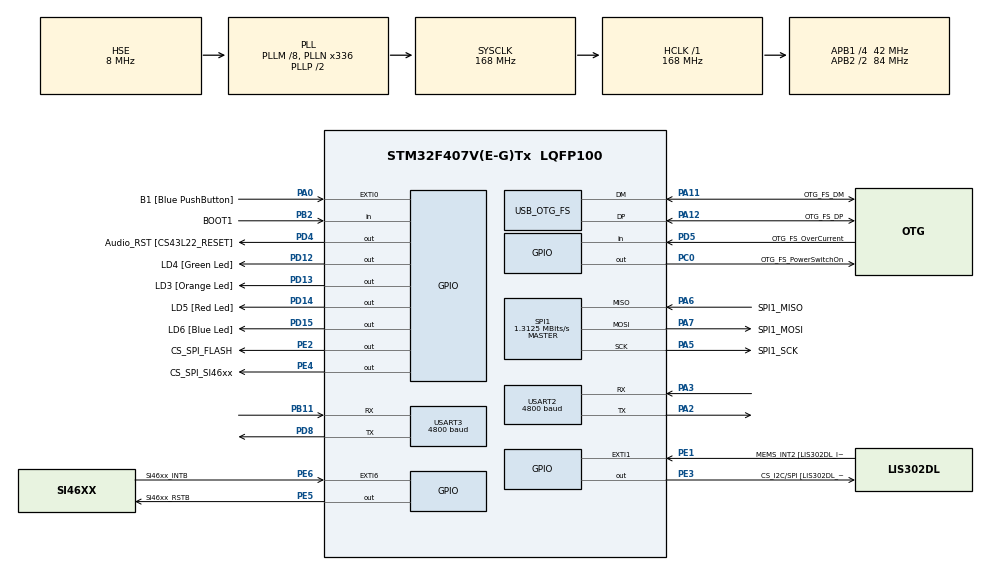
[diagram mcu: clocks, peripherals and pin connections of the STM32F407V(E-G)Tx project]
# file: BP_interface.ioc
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Mcu.Family=STM32F4
Mcu.Name=STM32F407V(E-G)Tx
Mcu.Package=LQFP100
NVIC.EXTI9_5_IRQn=true\:0\:0\:false\:false\:true\:true\:true\:true
NVIC.OTG_FS_IRQn=true\:0\:0\:false\:false\:true\:true\:true\:true
NVIC.PriorityGroup=NVIC_PRIORITYGROUP_0
NVIC.SPI1_IRQn=true\:0\:0\:false\:false\:true\:true\:true\:true
NVIC.USART2_IRQn=true\:0\:0\:false\:false\:true\:true\:true\:true
NVIC.USART3_IRQn=true\:0\:0\:false\:false\:true\:true\:true\:true
PA0-WKUP.GPIO_Label=B1 [Blue PushButton]
PA0-WKUP.GPIO_ModeDefaultEXTI=GPIO_MODE_EVT_RISING
PA0-WKUP.GPIO_PuPd=GPIO_NOPULL
PA0-WKUP.Signal=GPXTI0
PA10.GPIO_Label=OTG_FS_ID
PA10.GPIO_Mode=GPIO_MODE_AF_PP
PA10.GPIO_PuPd=GPIO_NOPULL
PA10.GPIO_Speed=GPIO_SPEED_FREQ_LOW
PA10.Signal=USB_OTG_FS_ID
PA11.GPIO_Label=OTG_FS_DM
PA11.GPIO_Mode=GPIO_MODE_AF_PP
PA11.GPIO_PuPd=GPIO_NOPULL
PA11.GPIO_Speed=GPIO_SPEED_FREQ_LOW
PA11.Mode=Device_Only
PA11.Signal=USB_OTG_FS_DM
PA12.GPIO_Label=OTG_FS_DP
PA12.GPIO_Mode=GPIO_MODE_AF_PP
PA12.GPIO_PuPd=GPIO_NOPULL
PA12.GPIO_Speed=GPIO_SPEED_FREQ_LOW
PA12.Mode=Device_Only
PA12.Signal=USB_OTG_FS_DP
PA13.GPIO_Label=SWDIO
PA13.Mode=Serial_Wire
PA13.Signal=SYS_JTMS-SWDIO
PA14.GPIO_Label=SWCLK
PA14.Mode=Serial_Wire
PA14.Signal=SYS_JTCK-SWCLK
PA2.Mode=Asynchronous
PA2.Signal=USART2_TX
PA3.Mode=Asynchronous
PA3.Signal=USART2_RX
PA4.GPIO_Label=I2S3_WS [CS43L22_LRCK]
PA4.GPIO_Mode=GPIO_MODE_AF_PP
PA4.GPIO_PuPd=GPIO_NOPULL
PA4.GPIO_Speed=GPIO_SPEED_FREQ_LOW
PA4.Signal=I2S3_WS
PA5.GPIO_Label=SPI1_SCK
PA5.GPIO_Mode=GPIO_MODE_AF_PP
PA5.GPIO_PuPd=GPIO_NOPULL
PA5.GPIO_Speed=GPIO_SPEED_FREQ_VERY_HIGH
PA5.Mode=Full_Duplex_Master
PA5.Signal=SPI1_SCK
PA6.GPIO_Label=SPI1_MISO
PA6.GPIO_Mode=GPIO_MODE_AF_PP
PA6.GPIO_PuPd=GPIO_NOPULL
PA6.GPIO_Speed=GPIO_SPEED_FREQ_VERY_HIGH
PA6.Mode=Full_Duplex_Master
PA6.Signal=SPI1_MISO
PA7.GPIO_Label=SPI1_MOSI
PA7.GPIO_Mode=GPIO_MODE_AF_PP
PA7.GPIO_PuPd=GPIO_NOPULL
PA7.GPIO_Speed=GPIO_SPEED_FREQ_VERY_HIGH
PA7.Mode=Full_Duplex_Master
PA7.Signal=SPI1_MOSI
PA9.GPIO_Label=VBUS_FS
PA9.GPIO_Mode=GPIO_MODE_INPUT
PA9.GPIO_PuPd=GPIO_NOPULL
PA9.Signal=USB_OTG_FS_VBUS
PB10.GPIO_Label=CLK_IN [MP45DT02_CLK]
PB10.GPIO_Mode=GPIO_MODE_AF_PP
PB10.GPIO_PuPd=GPIO_NOPULL
PB10.GPIO_Speed=GPIO_SPEED_FREQ_LOW
PB10.Signal=I2S2_CK
PB11.Mode=Asynchronous
PB11.Signal=USART3_RX
PB2.GPIO_Label=BOOT1
PB2.GPIO_Mode=GPIO_MODE_INPUT
PB2.GPIO_PuPd=GPIO_NOPULL
PB2.Signal=GPIO_Input
PB3.GPIO_Label=SWO
PB3.Signal=SYS_JTDO-SWO
PB6.GPIO_Label=Audio_SCL [CS43L22_SCL]
PB6.GPIO_Mode=GPIO_MODE_AF_OD
PB6.GPIO_PuPd=GPIO_NOPULL
PB6.GPIO_Speed=GPIO_SPEED_FREQ_LOW
PB6.Signal=I2C1_SCL
PB9.GPIO_Label=Audio_SDA [CS43L22_SDA]
PB9.GPIO_Mode=GPIO_MODE_AF_OD
PB9.GPIO_PuPd=GPIO_NOPULL
PB9.GPIO_Speed=GPIO_SPEED_FREQ_LOW
PB9.Signal=I2C1_SDA
PC0.GPIO_Label=OTG_FS_PowerSwitchOn
PC0.GPIO_PuPd=GPIO_NOPULL
PC0.GPIO_Speed=GPIO_SPEED_FREQ_LOW
PC0.PinState=GPIO_PIN_SET
PC0.Signal=GPIO_Output
PC10.GPIO_Label=I2S3_SCK [CS43L22_SCLK]
PC10.GPIO_Mode=GPIO_MODE_AF_PP
PC10.GPIO_PuPd=GPIO_NOPULL
PC10.GPIO_Speed=GPIO_SPEED_FREQ_LOW
PC10.Signal=I2S3_CK
PC12.GPIO_Label=I2S3_SD [CS43L22_SDIN]
PC12.GPIO_Mode=GPIO_MODE_AF_PP
PC12.GPIO_PuPd=GPIO_NOPULL
PC12.GPIO_Speed=GPIO_SPEED_FREQ_LOW
PC12.Signal=I2S3_SD
PC14-OSC32_IN.GPIO_Label=PC14-OSC32_IN
PC14-OSC32_IN.Mode=LSE-External-Oscillator
PC14-OSC32_IN.Signal=RCC_OSC32_IN
PC15-OSC32_OUT.GPIO_Label=PC15-OSC32_OUT
PC15-OSC32_OUT.Mode=LSE-External-Oscillator
PC15-OSC32_OUT.Signal=RCC_OSC32_OUT
PC3.GPIO_Label=PDM_OUT [MP45DT02_DOUT]
PC3.GPIO_Mode=GPIO_MODE_AF_PP
PC3.GPIO_PuPd=GPIO_NOPULL
PC3.GPIO_Speed=GPIO_SPEED_FREQ_LOW
PC3.Signal=I2S2_SD
PC7.GPIO_Label=I2S3_MCK [CS43L22_MCLK]
PC7.GPIO_Mode=GPIO_MODE_AF_PP
PC7.GPIO_PuPd=GPIO_NOPULL
PC7.GPIO_Speed=GPIO_SPEED_FREQ_LOW
PC7.Signal=I2S3_MCK
PD12.GPIO_Label=LD4 [Green Led]
PD12.GPIO_PuPd=GPIO_NOPULL
PD12.GPIO_Speed=GPIO_SPEED_FREQ_LOW
PD12.Signal=GPIO_Output
PD13.GPIO_Label=LD3 [Orange Led]
PD13.GPIO_PuPd=GPIO_NOPULL
PD13.GPIO_Speed=GPIO_SPEED_FREQ_LOW
PD13.Signal=GPIO_Output
PD14.GPIO_Label=LD5 [Red Led]
PD14.GPIO_PuPd=GPIO_NOPULL
PD14.GPIO_Speed=GPIO_SPEED_FREQ_LOW
PD14.Signal=GPIO_Output
PD15.GPIO_Label=LD6 [Blue Led]
PD15.GPIO_PuPd=GPIO_NOPULL
PD15.GPIO_Speed=GPIO_SPEED_FREQ_LOW
PD15.Signal=GPIO_Output
PD4.GPIO_Label=Audio_RST [CS43L22_RESET]
PD4.GPIO_PuPd=GPIO_NOPULL
PD4.GPIO_Speed=GPIO_SPEED_FREQ_LOW
PD4.Signal=GPIO_Output
PD5.GPIO_Label=OTG_FS_OverCurrent
PD5.GPIO_Mode=GPIO_MODE_INPUT
PD5.GPIO_PuPd=GPIO_NOPULL
PD5.Signal=GPIO_Input
PD8.Mode=Asynchronous
PD8.Signal=USART3_TX
PE1.GPIO_Label=MEMS_INT2 [LIS302DL_INT2]
PE1.GPIO_ModeDefaultEXTI=GPIO_MODE_EVT_RISING
PE1.GPIO_PuPd=GPIO_NOPULL
PE1.Signal=GPXTI1
PE2.GPIO_Label=CS_SPI_FLASH
PE2.GPIO_ModeDefaultOutputPP=GPIO_MODE_OUTPUT_OD
PE2.GPIO_PuPd=GPIO_NOPULL
PE2.PinState=GPIO_PIN_SET
PE2.Signal=GPIO_Output
PE3.GPIO_Label=CS_I2C/SPI [LIS302DL_CS_I2C/SPI]
PE3.GPIO_PuPd=GPIO_NOPULL
PE3.GPIO_Speed=GPIO_SPEED_FREQ_LOW
PE3.Signal=GPIO_Output
PE4.GPIO_Label=CS_SPI_SI46xx
PE4.Signal=GPIO_Output
PE5.GPIO_Label=Si46xx_RSTB 
PE5.Signal=GPIO_Output
PE6.GPIO_Label=Si46xx_INTB
PE6.Signal=GPXTI6
PH0-OSC_IN.GPIO_Label=PH0-OSC_IN
PH0-OSC_IN.Mode=HSE-External-Oscillator
PH0-OSC_IN.Signal=RCC_OSC_IN
PH1-OSC_OUT.GPIO_Label=PH1-OSC_OUT
PH1-OSC_OUT.Mode=HSE-External-Oscillator
PH1-OSC_OUT.Signal=RCC_OSC_OUT
ProjectManager.HeapSize=0x200
ProjectManager.StackSize=0x400
ProjectManager.TargetToolchain=STM32CubeIDE
RCC.48MHZClocksFreq_Value=48000000
RCC.AHBFreq_Value=168000000
RCC.APB1CLKDivider=RCC_HCLK_DIV4
RCC.APB1Freq_Value=42000000
RCC.APB1TimFreq_Value=84000000
RCC.APB2CLKDivider=RCC_HCLK_DIV2
RCC.APB2Freq_Value=84000000
RCC.APB2TimFreq_Value=168000000
RCC.CortexFreq_Value=168000000
RCC.HCLKFreq_Value=168000000
RCC.HSE_VALUE=8000000
RCC.HSI_VALUE=16000000
RCC.PLLM=8
RCC.PLLN=336
RCC.PLLQ=7
RCC.SYSCLKFreq_VALUE=168000000
RCC.SYSCLKSource=RCC_SYSCLKSOURCE_PLLCLK
RCC.VCOOutputFreq_Value=336000000
SPI1.BaudRatePrescaler=SPI_BAUDRATEPRESCALER_64
SPI1.CLKPhase=SPI_PHASE_1EDGE
SPI1.CLKPolarity=SPI_POLARITY_LOW
SPI1.CalculateBaudRate=1.3125 MBits/s
SPI1.Direction=SPI_DIRECTION_2LINES
SPI1.Mode=SPI_MODE_MASTER
SPI1.VirtualType=VM_MASTER
USART2.BaudRate=4800
USART2.VirtualMode=VM_ASYNC
USART2.WordLength=WORDLENGTH_9B
USART3.BaudRate=4800
USART3.VirtualMode=VM_ASYNC
USART3.WordLength=WORDLENGTH_9B
USB_DEVICE.APP_RX_DATA_SIZE-CDC_FS=2048
USB_DEVICE.APP_TX_DATA_SIZE-CDC_FS=2048
USB_DEVICE.CLASS_NAME_FS=CDC
USB_DEVICE.LANGID_STRING-CDC_FS=1031
USB_DEVICE.USBD_DEBUG_LEVEL-CDC_FS=2
USB_DEVICE.VirtualMode-CDC_FS=Cdc
USB_DEVICE.VirtualModeFS=Cdc_FS
USB_OTG_FS.VirtualMode=Device_Only
VP_USB_DEVICE_VS_USB_DEVICE_CDC_FS.Mode=CDC_FS
board=STM32F407G-DISC1

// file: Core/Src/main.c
/* USER CODE BEGIN Header */
/**
  ******************************************************************************
  * @file           : main.c
  * @brief          : Main program body
  ******************************************************************************
  * @attention
  *
  * <h2><center>&copy; Copyright (c) 2020 STMicroelectronics.
  * All rights reserved.</center></h2>
  *
  * This software component is licensed by ST under Ultimate Liberty license
  * SLA0044, the "License"; You may not use this file except in compliance with
  * the License. You may obtain a copy of the License at:
  *                             www.st.com/SLA0044
  *
  ******************************************************************************
  */

/*
- Senden mit Interrupt
- generell Senden einbauen, wann antwortet das teil åberhaupt?

- Timeouts einbauen

- messageSende stack bauen, welche Zeiten dazwischen? Timer für Slots?

- Error Catchen, wenn Nachricht > als MAximum

#- Wartezeit immer für nach der Nachricht, nicht für vor die nachfolgende Nachricht
- Befehle, die das Radio außerhalb von Antworten liefert auf Stack zurück werfen, damit später bearbneiotet wird
- RINGBUF_WAIT raus schmeißen

bpMessages.c bauen:
findMessage(bp-message) returnt enum mit bekannten nachrichten oder unknown
-> muss mehr als addr und cmd kennen...
array weiter ausbauen

- Als Compiler-Flag: Array kleiner als Enum?
-unbekannte Nachrichten sollten gespeichert werden, am besten auch den Status drum herum

- die Nachrichten auf einen eigenen Stack kleben, wenn sie zum Debuggen genommen werden sollen. Sonst fehlen immer welche...

*/

/* USER CODE END Header */
#include "main.h"
#include "usb_device.h"

/* USER CODE BEGIN Includes */
#include "usbd_cdc_if.h" // TODO auf dauer raus
#include "cdc_interface.h"

#include "SST25.h"

#include "usbd_cdc.h" //test

//#include <locale.h>

/* USER CODE END Includes */

 SPI_HandleTypeDef hspi1;

UART_HandleTypeDef huart2;
UART_HandleTypeDef huart3;

/* USER CODE BEGIN PV */

// TODO: das alles in struct einbinden

//uint8_t buffer_tmp[250];
uint8_t buffer[250];

extern USBD_HandleTypeDef hUsbDeviceFS; //test

/* USER CODE END PV */

void SystemClock_Config(void);
static void MX_GPIO_Init(void);
static void MX_SPI1_Init(void);
static void MX_USART2_UART_Init(void);
static void MX_USART3_UART_Init(void);
/* USER CODE BEGIN PFP */

//bp_msg_error processBpMsg(bp_msg_dt * message); // nur als Definition, später in header-File

/* USER CODE END PFP */

/* USER CODE BEGIN 0 */

/* Printf for USB CDC */
int _write(int file, char *ptr, size_t len)
{
	if(CDC_Transmit_FS((uint8_t*) ptr, len) == USBD_OK)
	{
		return len;
	}
	return 0;

	/* Alt ohne Ringbuffer...
	extern USBD_HandleTypeDef hUsbDeviceFS;
	extern enum bp_comm_state bpCommState;

	char tmpBuffer[20];
	uint8_t tmpLen;

	// Add state to message
	sprintf(tmpBuffer, " %02d | ", bpCommState);

	// Store length
	tmpLen = strlen(tmpBuffer);

	// wait until the buffer is free
	while(((USBD_CDC_HandleTypeDef*)(hUsbDeviceFS.pClassData))->TxState!=0); // Blockiert, wenn kein Putty dran

	// copy the string into the buffer (with size limit)
	if (len+tmpLen > sizeof(buffer))
	{
		len = sizeof(buffer) - tmpLen;
	}

	memcpy(buffer, tmpBuffer, tmpLen);
	memcpy(buffer+tmpLen, ptr, len); // TODO: alles ungetestet

	CDC_Transmit_FS(buffer, tmpLen+len);

	return len;*/
}

void HAL_UART_TxCpltCallback(UART_HandleTypeDef *huart)
{
//    HAL_GPIO_TogglePin(LD4_GPIO_Port, LD4_Pin);

	/* Send next message if lasting on buffer */ // TODO: muss da nicht ein Zeitversatz rein? Bekommt das Radio das hin? Was sagen die Aufzeichnungen
	//sendRingMessage(); besser von da unten aus...?

	/* Check next received message if transmission was successful */
	//bpMsgState.checkMsgFlg = 1; hier prüfen und oben aktivieren / kopieren?!?
}

void HAL_GPIO_EXTI_Callback(uint16_t GPIO_Pin)
{
	if(GPIO_Pin == GPIO_PIN_6)
	{
		set_Si46xx_ISR();

		if(SPI_Set_Input == 1)
		{
			SPI_Set_Input = 0;
			Set_SPI_GPIO_Send();
		}
	}
}

// Workaround For using two masters in parallel
void Set_SPI_GPIO_Listen()
{
	GPIO_InitTypeDef GPIO_InitStruct = {0};

	GPIO_InitStruct.Pin = SPI1_SCK_Pin|SPI1_MISO_Pin|SPI1_MOSI_Pin;
	GPIO_InitStruct.Mode = GPIO_MODE_INPUT;
	GPIO_InitStruct.Pull = GPIO_NOPULL;
	HAL_GPIO_Init(GPIOA, &GPIO_InitStruct);

//	SPI_Set_Input = 1;
	printf("Set SPI to listen\n");
}

// Aus void HAL_SPI_MspInit(SPI_HandleTypeDef* hspi) kopiert
void Set_SPI_GPIO_Send()
{
	GPIO_InitTypeDef GPIO_InitStruct = {0};

	/**SPI1 GPIO Configuration
	PA5     ------> SPI1_SCK
	PA6     ------> SPI1_MISO
	PA7     ------> SPI1_MOSI
	*/
	GPIO_InitStruct.Pin = SPI1_SCK_Pin|SPI1_MISO_Pin|SPI1_MOSI_Pin;
	GPIO_InitStruct.Mode = GPIO_MODE_AF_PP;
	GPIO_InitStruct.Pull = GPIO_NOPULL;
	GPIO_InitStruct.Speed = GPIO_SPEED_FREQ_VERY_HIGH;
	GPIO_InitStruct.Alternate = GPIO_AF5_SPI1;
	HAL_GPIO_Init(GPIOA, &GPIO_InitStruct);

	//SPI_Set_Input = 0;
	printf("Set SPI to send\n");
}

/* USER CODE END 0 */

int main(void)
{
  /* USER CODE BEGIN 1 */
	//extern uint8_t SPI_Flash_Active;

  /* USER CODE END 1 */

  /* MCU Configuration--------------------------------------------------------*/

  /* Reset of all peripherals, Initializes the Flash interface and the Systick. */
  HAL_Init();

  /* Configure the system clock */
  SystemClock_Config();

  /* Initialize all configured peripherals */
  MX_GPIO_Init();
  MX_SPI1_Init();
  MX_USB_DEVICE_Init();
  MX_USART2_UART_Init();
  MX_USART3_UART_Init();
  /* USER CODE BEGIN 2 */

  bpCommInit();

  Si46xx_InitConfiguration(&hspi1);
  SST25_Init(&hspi1);

  // start inactive DAB mode
  stateFlags.bpDabActive = bp_DAB_inactive;
  strcpy(stateFlags.currentDisplayMessage, "DAB-Sim");

  // TODO: Tests für Si46xx-Kommunikation  Si4684
  /*HAL_GPIO_WritePin(CS_SPI_SI46xx_GPIO_Port, CS_SPI_SI46xx_Pin, GPIO_PIN_SET); // CS aus
  HAL_GPIO_WritePin(Si46xx_RSTB_GPIO_Port, Si46xx_RSTB_Pin, GPIO_PIN_RESET); // Reset LOW halten

  static uint8_t zeroes[10] = {0,};
*/
  uint8_t dummy = 0x55;
  HAL_SPI_Transmit(&hspi1, (uint8_t*) &dummy, 1, 100); // Workaround: zu Beginn ist SCK HIGH, erst danach immer LOW...

  cdc_Interface_Init();

  SPI_Set_Input = 0;

  /* USER CODE END 2 */

  /* Infinite loop */
  /* USER CODE BEGIN WHILE */
  while (1)
  {
	  bpDebugPrint();
	  bpCommTasks();

	  Si46xx_radio_tasks();
	  Si46xx_function_tasks();

	  cdc_Ringbuf_Tasks();
	  cdc_Interface_Tasks();

	  if(HAL_GPIO_ReadPin(B1_GPIO_Port, B1_Pin) == 1)
	  {
		  //HAL_GPIO_WritePin(Si46xx_RSTB_GPIO_Port, Si46xx_RSTB_Pin, GPIO_PIN_RESET); // Reset LOW halten
		 // printf("Flash: %X \r", SST25_read_ID(&hspi1));
	  }

	  // Workarounds to use second SPI on same lines
	  /*if((HAL_GPIO_ReadPin(CS_SPI_FLASH_GPIO_Port, CS_SPI_FLASH_Pin) == GPIO_PIN_RESET) && SPI_Flash_Active == 0 && SPI_Set_Input == 0)
	  {
		  Set_SPI_GPIO_Listen();
		  SPI_Set_Input = 1;
		  printf("Set SPI to listen\n");
	  }
	  else if((HAL_GPIO_ReadPin(CS_SPI_FLASH_GPIO_Port, CS_SPI_FLASH_Pin) == GPIO_PIN_SET) && SPI_Set_Input == 1)
	  {
		  Set_SPI_GPIO_Send();
		  SPI_Set_Input = 0;
		  printf("Set SPI to send\n");
	  }*/
    /* USER CODE END WHILE */

  }
}

void SystemClock_Config(void)
{
  RCC_OscInitTypeDef RCC_OscInitStruct = {0};
  RCC_ClkInitTypeDef RCC_ClkInitStruct = {0};

  /** Configure the main internal regulator output voltage
  */
  __HAL_RCC_PWR_CLK_ENABLE();
  __HAL_PWR_VOLTAGESCALING_CONFIG(PWR_REGULATOR_VOLTAGE_SCALE1);

  /** Initializes the RCC Oscillators according to the specified parameters
  * in the RCC_OscInitTypeDef structure.
  */
  RCC_OscInitStruct.OscillatorType = RCC_OSCILLATORTYPE_HSE;
  RCC_OscInitStruct.HSEState = RCC_HSE_ON;
  RCC_OscInitStruct.PLL.PLLState = RCC_PLL_ON;
  RCC_OscInitStruct.PLL.PLLSource = RCC_PLLSOURCE_HSE;
  RCC_OscInitStruct.PLL.PLLM = 8;
  RCC_OscInitStruct.PLL.PLLN = 336;
  RCC_OscInitStruct.PLL.PLLP = RCC_PLLP_DIV2;
  RCC_OscInitStruct.PLL.PLLQ = 7;
  if (HAL_RCC_OscConfig(&RCC_OscInitStruct) != HAL_OK)
  {
    Error_Handler();
  }

  /** Initializes the CPU, AHB and APB buses clocks
  */
  RCC_ClkInitStruct.ClockType = RCC_CLOCKTYPE_HCLK|RCC_CLOCKTYPE_SYSCLK
                              |RCC_CLOCKTYPE_PCLK1|RCC_CLOCKTYPE_PCLK2;
  RCC_ClkInitStruct.SYSCLKSource = RCC_SYSCLKSOURCE_PLLCLK;
  RCC_ClkInitStruct.AHBCLKDivider = RCC_SYSCLK_DIV1;
  RCC_ClkInitStruct.APB1CLKDivider = RCC_HCLK_DIV4;
  RCC_ClkInitStruct.APB2CLKDivider = RCC_HCLK_DIV2;

  if (HAL_RCC_ClockConfig(&RCC_ClkInitStruct, FLASH_LATENCY_5) != HAL_OK)
  {
    Error_Handler();
  }
}

static void MX_SPI1_Init(void)
{

  /* SPI1 parameter configuration*/
  hspi1.Instance = SPI1;
  hspi1.Init.Mode = SPI_MODE_MASTER;
  hspi1.Init.Direction = SPI_DIRECTION_2LINES;
  hspi1.Init.DataSize = SPI_DATASIZE_8BIT;
  hspi1.Init.CLKPolarity = SPI_POLARITY_LOW;
  hspi1.Init.CLKPhase = SPI_PHASE_1EDGE;
  hspi1.Init.NSS = SPI_NSS_SOFT;
  hspi1.Init.BaudRatePrescaler = SPI_BAUDRATEPRESCALER_64;
  hspi1.Init.FirstBit = SPI_FIRSTBIT_MSB;
  hspi1.Init.TIMode = SPI_TIMODE_DISABLE;
  hspi1.Init.CRCCalculation = SPI_CRCCALCULATION_DISABLE;
  hspi1.Init.CRCPolynomial = 10;
  if (HAL_SPI_Init(&hspi1) != HAL_OK)
  {
    Error_Handler();
  }

}

static void MX_USART2_UART_Init(void)
{

  huart2.Instance = USART2;
  huart2.Init.BaudRate = 4800;
  huart2.Init.WordLength = UART_WORDLENGTH_9B;
  huart2.Init.StopBits = UART_STOPBITS_1;
  huart2.Init.Parity = UART_PARITY_NONE;
  huart2.Init.Mode = UART_MODE_TX_RX;
  huart2.Init.HwFlowCtl = UART_HWCONTROL_NONE;
  huart2.Init.OverSampling = UART_OVERSAMPLING_16;
  if (HAL_UART_Init(&huart2) != HAL_OK)
  {
    Error_Handler();
  }
  /* USER CODE BEGIN USART2_Init 2 */
  __HAL_UART_ENABLE_IT(&huart2, UART_IT_RXNE); //https://blog.the78mole.de/stm32-uart-continuous-receive-with-interrupt/

  /* USER CODE END USART2_Init 2 */

}

static void MX_USART3_UART_Init(void)
{

  huart3.Instance = USART3;
  huart3.Init.BaudRate = 4800;
  huart3.Init.WordLength = UART_WORDLENGTH_9B;
  huart3.Init.StopBits = UART_STOPBITS_1;
  huart3.Init.Parity = UART_PARITY_NONE;
  huart3.Init.Mode = UART_MODE_TX_RX;
  huart3.Init.HwFlowCtl = UART_HWCONTROL_NONE;
  huart3.Init.OverSampling = UART_OVERSAMPLING_16;
  if (HAL_UART_Init(&huart3) != HAL_OK)
  {
    Error_Handler();
  }
  /* USER CODE BEGIN USART3_Init 2 */
  __HAL_UART_ENABLE_IT(&huart3, UART_IT_RXNE);

  /* USER CODE END USART3_Init 2 */

}

static void MX_GPIO_Init(void)
{
  GPIO_InitTypeDef GPIO_InitStruct = {0};

  /* GPIO Ports Clock Enable */
  __HAL_RCC_GPIOE_CLK_ENABLE();
  __HAL_RCC_GPIOC_CLK_ENABLE();
  __HAL_RCC_GPIOH_CLK_ENABLE();
  __HAL_RCC_GPIOA_CLK_ENABLE();
  __HAL_RCC_GPIOB_CLK_ENABLE();
  __HAL_RCC_GPIOD_CLK_ENABLE();

  /*Configure GPIO pin Output Level */
  HAL_GPIO_WritePin(CS_SPI_FLASH_GPIO_Port, CS_SPI_FLASH_Pin, GPIO_PIN_SET);

  /*Configure GPIO pin Output Level */
  HAL_GPIO_WritePin(GPIOE, CS_I2C_SPI_Pin|CS_SPI_SI46xx_Pin|Si46xx_RSTB_Pin, GPIO_PIN_RESET);

  /*Configure GPIO pin Output Level */
  HAL_GPIO_WritePin(OTG_FS_PowerSwitchOn_GPIO_Port, OTG_FS_PowerSwitchOn_Pin, GPIO_PIN_SET);

  /*Configure GPIO pin Output Level */
  HAL_GPIO_WritePin(GPIOD, LD4_Pin|LD3_Pin|LD5_Pin|LD6_Pin
                          |Audio_RST_Pin, GPIO_PIN_RESET);

  /*Configure GPIO pin : CS_SPI_FLASH_Pin */
  GPIO_InitStruct.Pin = CS_SPI_FLASH_Pin;
  GPIO_InitStruct.Mode = GPIO_MODE_OUTPUT_OD;
  GPIO_InitStruct.Pull = GPIO_NOPULL;
  GPIO_InitStruct.Speed = GPIO_SPEED_FREQ_LOW;
  HAL_GPIO_Init(CS_SPI_FLASH_GPIO_Port, &GPIO_InitStruct);

  /*Configure GPIO pins : CS_I2C_SPI_Pin CS_SPI_SI46xx_Pin Si46xx_RSTB_Pin */
  GPIO_InitStruct.Pin = CS_I2C_SPI_Pin|CS_SPI_SI46xx_Pin|Si46xx_RSTB_Pin;
  GPIO_InitStruct.Mode = GPIO_MODE_OUTPUT_PP;
  GPIO_InitStruct.Pull = GPIO_NOPULL;
  GPIO_InitStruct.Speed = GPIO_SPEED_FREQ_LOW;
  HAL_GPIO_Init(GPIOE, &GPIO_InitStruct);

  /*Configure GPIO pin : Si46xx_INTB_Pin */
  GPIO_InitStruct.Pin = Si46xx_INTB_Pin;
  GPIO_InitStruct.Mode = GPIO_MODE_IT_RISING;
  GPIO_InitStruct.Pull = GPIO_NOPULL;
  HAL_GPIO_Init(Si46xx_INTB_GPIO_Port, &GPIO_InitStruct);

  /*Configure GPIO pin : OTG_FS_PowerSwitchOn_Pin */
  GPIO_InitStruct.Pin = OTG_FS_PowerSwitchOn_Pin;
  GPIO_InitStruct.Mode = GPIO_MODE_OUTPUT_PP;
  GPIO_InitStruct.Pull = GPIO_NOPULL;
  GPIO_InitStruct.Speed = GPIO_SPEED_FREQ_LOW;
  HAL_GPIO_Init(OTG_FS_PowerSwitchOn_GPIO_Port, &GPIO_InitStruct);

  /*Configure GPIO pin : PDM_OUT_Pin */
  GPIO_InitStruct.Pin = PDM_OUT_Pin;
  GPIO_InitStruct.Mode = GPIO_MODE_AF_PP;
  GPIO_InitStruct.Pull = GPIO_NOPULL;
  GPIO_InitStruct.Speed = GPIO_SPEED_FREQ_LOW;
  GPIO_InitStruct.Alternate = GPIO_AF5_SPI2;
  HAL_GPIO_Init(PDM_OUT_GPIO_Port, &GPIO_InitStruct);

  /*Configure GPIO pin : B1_Pin */
  GPIO_InitStruct.Pin = B1_Pin;
  GPIO_InitStruct.Mode = GPIO_MODE_EVT_RISING;
  GPIO_InitStruct.Pull = GPIO_NOPULL;
  HAL_GPIO_Init(B1_GPIO_Port, &GPIO_InitStruct);

  /*Configure GPIO pin : I2S3_WS_Pin */
  GPIO_InitStruct.Pin = I2S3_WS_Pin;
  GPIO_InitStruct.Mode = GPIO_MODE_AF_PP;
  GPIO_InitStruct.Pull = GPIO_NOPULL;
  GPIO_InitStruct.Speed = GPIO_SPEED_FREQ_LOW;
  GPIO_InitStruct.Alternate = GPIO_AF6_SPI3;
  HAL_GPIO_Init(I2S3_WS_GPIO_Port, &GPIO_InitStruct);

  /*Configure GPIO pin : BOOT1_Pin */
  GPIO_InitStruct.Pin = BOOT1_Pin;
  GPIO_InitStruct.Mode = GPIO_MODE_INPUT;
  GPIO_InitStruct.Pull = GPIO_NOPULL;
  HAL_GPIO_Init(BOOT1_GPIO_Port, &GPIO_InitStruct);

  /*Configure GPIO pin : CLK_IN_Pin */
  GPIO_InitStruct.Pin = CLK_IN_Pin;
  GPIO_InitStruct.Mode = GPIO_MODE_AF_PP;
  GPIO_InitStruct.Pull = GPIO_NOPULL;
  GPIO_InitStruct.Speed = GPIO_SPEED_FREQ_LOW;
  GPIO_InitStruct.Alternate = GPIO_AF5_SPI2;
  HAL_GPIO_Init(CLK_IN_GPIO_Port, &GPIO_InitStruct);

  /*Configure GPIO pins : LD4_Pin LD3_Pin LD5_Pin LD6_Pin
                           Audio_RST_Pin */
  GPIO_InitStruct.Pin = LD4_Pin|LD3_Pin|LD5_Pin|LD6_Pin
                          |Audio_RST_Pin;
  GPIO_InitStruct.Mode = GPIO_MODE_OUTPUT_PP;
  GPIO_InitStruct.Pull = GPIO_NOPULL;
  GPIO_InitStruct.Speed = GPIO_SPEED_FREQ_LOW;
  HAL_GPIO_Init(GPIOD, &GPIO_InitStruct);

  /*Configure GPIO pins : I2S3_MCK_Pin I2S3_SCK_Pin I2S3_SD_Pin */
  GPIO_InitStruct.Pin = I2S3_MCK_Pin|I2S3_SCK_Pin|I2S3_SD_Pin;
  GPIO_InitStruct.Mode = GPIO_MODE_AF_PP;
  GPIO_InitStruct.Pull = GPIO_NOPULL;
  GPIO_InitStruct.Speed = GPIO_SPEED_FREQ_LOW;
  GPIO_InitStruct.Alternate = GPIO_AF6_SPI3;
  HAL_GPIO_Init(GPIOC, &GPIO_InitStruct);

  /*Configure GPIO pin : OTG_FS_OverCurrent_Pin */
  GPIO_InitStruct.Pin = OTG_FS_OverCurrent_Pin;
  GPIO_InitStruct.Mode = GPIO_MODE_INPUT;
  GPIO_InitStruct.Pull = GPIO_NOPULL;
  HAL_GPIO_Init(OTG_FS_OverCurrent_GPIO_Port, &GPIO_InitStruct);

  /*Configure GPIO pins : Audio_SCL_Pin Audio_SDA_Pin */
  GPIO_InitStruct.Pin = Audio_SCL_Pin|Audio_SDA_Pin;
  GPIO_InitStruct.Mode = GPIO_MODE_AF_OD;
  GPIO_InitStruct.Pull = GPIO_NOPULL;
  GPIO_InitStruct.Speed = GPIO_SPEED_FREQ_LOW;
  GPIO_InitStruct.Alternate = GPIO_AF4_I2C1;
  HAL_GPIO_Init(GPIOB, &GPIO_InitStruct);

  /*Configure GPIO pin : MEMS_INT2_Pin */
  GPIO_InitStruct.Pin = MEMS_INT2_Pin;
  GPIO_InitStruct.Mode = GPIO_MODE_EVT_RISING;
  GPIO_InitStruct.Pull = GPIO_NOPULL;
  HAL_GPIO_Init(MEMS_INT2_GPIO_Port, &GPIO_InitStruct);

  /* EXTI interrupt init*/
  HAL_NVIC_SetPriority(EXTI9_5_IRQn, 0, 0);
  HAL_NVIC_EnableIRQ(EXTI9_5_IRQn);

}

/* USER CODE BEGIN 4 */

// This is called when SPI receive is done
/*void HAL_SPI_RxCpltCallback (SPI_HandleTypeDef * hspi)
{
  // Set CS pin to high and raise flag
  HAL_GPIO_WritePin(GPIOB, GPIO_PIN_6, GPIO_PIN_SET);
  spi_recv_flag = 1;
}*/

/* USER CODE END 4 */

void Error_Handler(void)
{
  /* USER CODE BEGIN Error_Handler_Debug */
  /* User can add his own implementation to report the HAL error return state */

  HAL_GPIO_TogglePin(LD3_GPIO_Port, LD3_Pin);
  /* USER CODE END Error_Handler_Debug */
}
